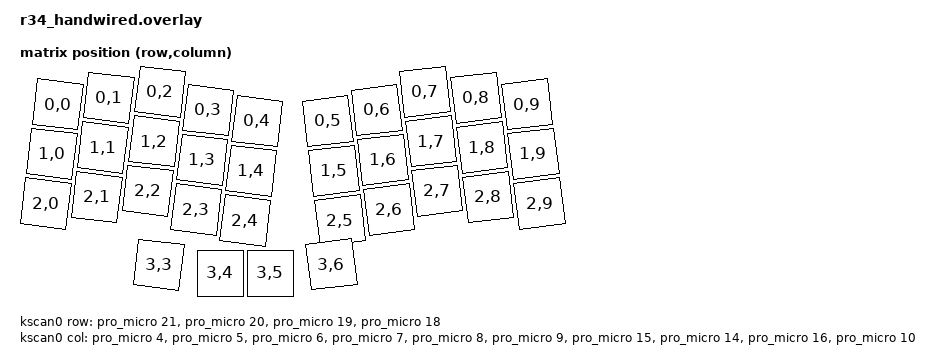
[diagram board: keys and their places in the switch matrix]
#include <dt-bindings/zmk/matrix_transform.h> // Put this with the other includes at the top of your
#include <physical_layouts.dtsi>


/ {  
    kscan0: kscan0 {
        compatible = "zmk,kscan-gpio-matrix";
        wakeup-source;
        //label = "default_kscan";
        diode-direction = "col2row";
        //poll-period-ms = <20>;

        col-gpios
            = <&pro_micro 4 GPIO_ACTIVE_HIGH>
            , <&pro_micro 5 GPIO_ACTIVE_HIGH>
            , <&pro_micro 6 GPIO_ACTIVE_HIGH>
            , <&pro_micro 7 GPIO_ACTIVE_HIGH>
            , <&pro_micro 8 GPIO_ACTIVE_HIGH>
            , <&pro_micro 9 GPIO_ACTIVE_HIGH>
            , <&pro_micro 15 GPIO_ACTIVE_HIGH>
            , <&pro_micro 14 GPIO_ACTIVE_HIGH>
            , <&pro_micro 16 GPIO_ACTIVE_HIGH>
            , <&pro_micro 10 GPIO_ACTIVE_HIGH>
            ;

        row-gpios
            = <&pro_micro 21 (GPIO_ACTIVE_HIGH | GPIO_PULL_DOWN)>
            , <&pro_micro 20 (GPIO_ACTIVE_HIGH | GPIO_PULL_DOWN)>
            , <&pro_micro 19 (GPIO_ACTIVE_HIGH | GPIO_PULL_DOWN)>
            , <&pro_micro 18 (GPIO_ACTIVE_HIGH | GPIO_PULL_DOWN)>
            ;
    };
    
    default_transform: matrix_transform {
        compatible = "zmk,matrix-transform";
        rows = <4>;
        columns = <10>;

        map = <
RC(0,0) RC(0,1) RC(0,2) RC(0,3) RC(0,4) RC(0,5) RC(0,6) RC(0,7) RC(0,8) RC(0,9)
RC(1,0) RC(1,1) RC(1,2) RC(1,3) RC(1,4) RC(1,5) RC(1,6) RC(1,7) RC(1,8) RC(1,9)
RC(2,0) RC(2,1) RC(2,2) RC(2,3) RC(2,4) RC(2,5) RC(2,6) RC(2,7) RC(2,8) RC(2,9)
                        RC(3,3) RC(3,4) RC(3,5) RC(3,6)
        >;
    };
    
    
    physical_layout0: physical_layout_0 { // Physical-layout to be chosen in the chosen node
        compatible = "zmk,physical-layout"; // Required
        display-name = "Default Layout"; // Required
        transform = <&default_transform>; // Required, Label of the matrix transform for this layout
        //kscan = <&kscan0>; // Optional, Label of the kscan node
        
        keys
            = <&key_physical_attrs 100 100 100  53 700    400 338>
            , <&key_physical_attrs 100 100 200  28 700    400 338>
            , <&key_physical_attrs 100 100 300  03 700    400 338>
            , <&key_physical_attrs 100 100 400  28 700    400 338>
            , <&key_physical_attrs 100 100 500  38 700    400 338>
            , <&key_physical_attrs 100 100 700  38 (-700) 900 338>
            , <&key_physical_attrs 100 100 800  28 (-700) 900 338>
            , <&key_physical_attrs 100 100 900  03 (-700) 900 338>
            , <&key_physical_attrs 100 100 1000 28 (-700) 900 338>
            , <&key_physical_attrs 100 100 1100 53 (-700) 900 338>

            , <&key_physical_attrs 100 100 100  153 700    400 338>
            , <&key_physical_attrs 100 100 200  128 700    400 338>
            , <&key_physical_attrs 100 100 300  103 700    400 338>
            , <&key_physical_attrs 100 100 400  128 700    400 338>
            , <&key_physical_attrs 100 100 500  138 700    400 338>
            , <&key_physical_attrs 100 100 700  138 (-700) 900 338>
            , <&key_physical_attrs 100 100 800  128 (-700) 900 338>
            , <&key_physical_attrs 100 100 900  103 (-700) 900 338>
            , <&key_physical_attrs 100 100 1000 128 (-700) 900 338>
            , <&key_physical_attrs 100 100 1100 153 (-700) 900 338>
            

            
            , <&key_physical_attrs 100 100 100  253 700    400 338>
            , <&key_physical_attrs 100 100 200  228 700    400 338>
            , <&key_physical_attrs 100 100 300  203 700    400 338>
            , <&key_physical_attrs 100 100 400  228 700    400 338>
            , <&key_physical_attrs 100 100 500  238 700    400 338>
            , <&key_physical_attrs 100 100 700  238 (-700) 900 338>
            , <&key_physical_attrs 100 100 800  228 (-700) 900 338>
            , <&key_physical_attrs 100 100 900  203 (-700) 900 338>
            , <&key_physical_attrs 100 100 1000 228 (-700) 900 338>
            , <&key_physical_attrs 100 100 1100 253 (-700) 900 338>

            , <&key_physical_attrs 100 100  339  335     700   300   335>
            , <&key_physical_attrs 100 100  455  362       0   400   412>
            , <&key_physical_attrs 100 100  555  362       0   610   412>
            , <&key_physical_attrs 100 100  671  335  (-700)   800   335>
            ;
    };
    
    chosen {
        zmk,kscan = &kscan0;// Required if it's the default kscan for all physical layouts
        zmk,physical-layout = &physical_layout0;
    };    
};
